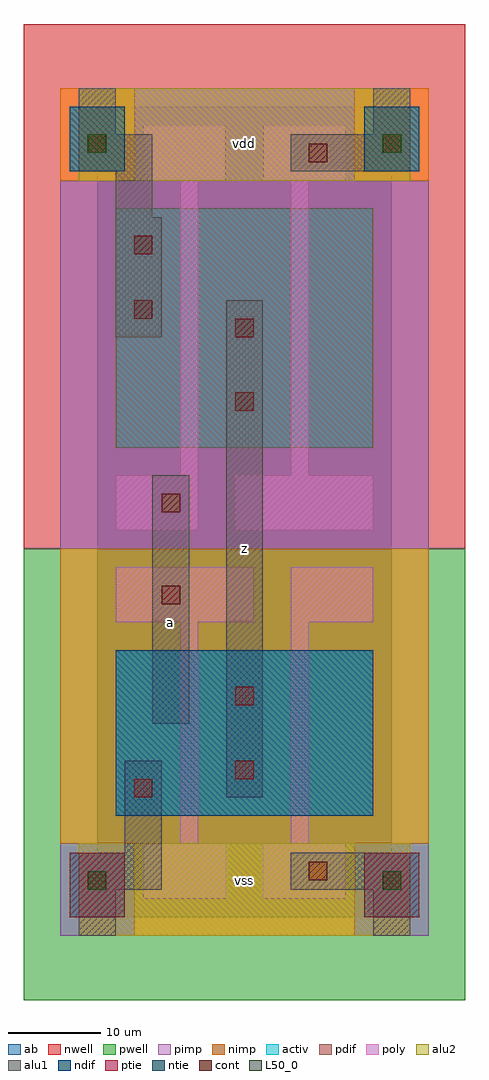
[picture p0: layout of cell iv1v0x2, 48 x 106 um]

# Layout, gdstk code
import gdstk
lib = gdstk.Library(unit=1e-6, precision=1e-09)
def R(c, l, rs):  # rectangles x0, y0, x1, y1
    for r in rs: c.add(gdstk.rectangle(r[:2], r[2:], *l))
ndif = (3, 0)
pdif = (4, 0)
ntie = (5, 0)
ptie = (6, 0)
cont = (25, 0)
pwell = (41, 0)
nwell = (42, 0)
activ = (43, 0)
pimp = (44, 0)
nimp = (45, 0)
poly = (46, 0)
alu1 = (49, 0)
L50_0 = (50, 0)
alu2 = (51, 0)
ab = (63, 0)

iv1v0x2 = lib.new_cell('iv1v0x2')
R(iv1v0x2, ndif, [(2,11,30,29)])
R(iv1v0x2, pdif, [(2,51,30,77)])
R(iv1v0x2, ntie, [(-3,81,3,88), (29,81,35,88)])
R(iv1v0x2, ptie, [(-3,0,3,7), (29,0,35,7)])
R(iv1v0x2, cont, [(-1,3,1,5), (31,3,33,5), (23,4,25,6), (4,13,6,15), (15,15,17,17), (15,23,17,25), (7,34,9,36), (7,44,9,46), (15,55,17,57), (15,63,17,65), (4,65,6,67), (4,72,6,74), (23,82,25,84), (-1,83,1,85), (31,83,33,85)])
R(iv1v0x2, pwell, [(-8,-9,40,40)])
R(iv1v0x2, nwell, [(-8,40,40,97)])
R(iv1v0x2, activ, [(-3,0,3,7), (29,0,35,7), (2,11,30,29), (2,51,30,77), (-3,81,3,88), (29,81,35,88)])
R(iv1v0x2, pimp, [(-4,-2,4,8), (28,-2,36,8), (-4,40,36,80), (4,80,28,90)])
R(iv1v0x2, nimp, [(4,-2,28,8), (-4,8,36,40), (-4,80,4,90), (28,80,36,90)])
R(iv1v0x2, poly, [(5,2,14,8), (18,2,27,8), (9,8,11,32), (21,8,23,32), (2,32,17,38), (21,32,30,38), (2,42,11,48), (15,42,30,48), (9,48,11,80), (21,48,23,80), (5,80,14,86), (18,80,27,86)])
R(iv1v0x2, alu1, [(-2,-2,2,3), (30,-2,34,3), (-2,3,7,7), (21,3,34,7), (3,7,7,17), (14,13,18,67), (6,21,10,48), (2,63,7,76), (2,76,6,81), (-2,81,6,85), (21,81,34,85), (-2,85,2,90), (30,85,34,90)])
R(iv1v0x2, L50_0, [(-1,3,1,5), (31,3,33,5), (-1,83,1,85), (31,83,33,85)])
R(iv1v0x2, alu2, [(-2,-2,34,8), (-2,80,34,90)])
R(iv1v0x2, ab, [(0,0,32,88)])
iv1v0x2.add(gdstk.Label('a', (8,32), layer=49, texttype=0))
iv1v0x2.add(gdstk.Label('z', (16,40), layer=49, texttype=0))
iv1v0x2.add(gdstk.Label('vss', (16,4), layer=51, texttype=0))
iv1v0x2.add(gdstk.Label('vdd', (16,84), layer=51, texttype=0))

lib.write_gds('iv1v0x2.gds')
